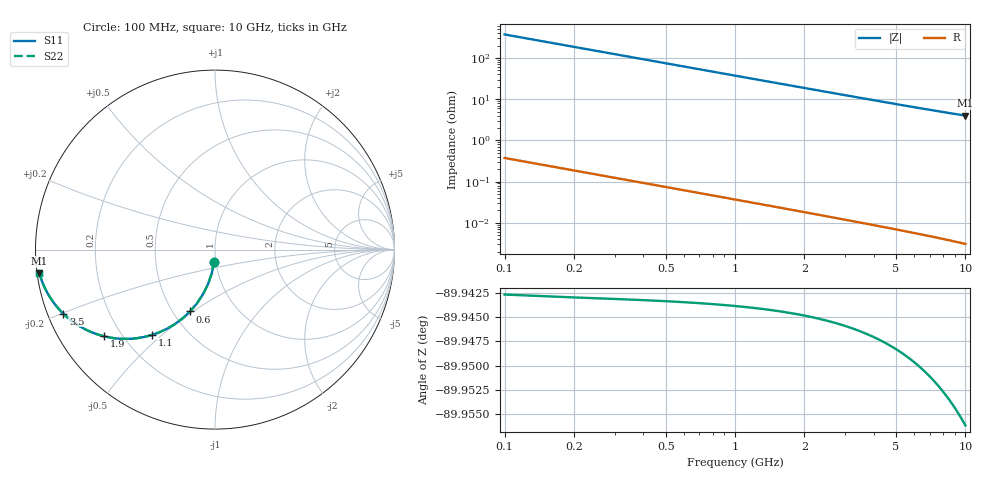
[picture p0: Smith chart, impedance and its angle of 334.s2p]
# Hz S RI R 50.00
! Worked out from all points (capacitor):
!   100 points, 100 MHz to 10 GHz, reference 50 ohm
!   read as one part in shunt: C = 4.26 pF near 100 MHz
!   lowest |Z| = 4 ohm at 10 GHz (marker M1)
!   S11 on the Smith chart (normalised r, x): 100 MHz: 0.98, -0.13; 600 MHz: 0.61, -0.49; 1.1 GHz: 0.32, -0.46; 1.9 GHz: 0.14, -0.34; 3.5 GHz: 0.04, -0.20; 10 GHz: 0.01, -0.07
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1e8  -0.00449 -0.0665  0.9954 -0.0667  0.9954 -0.0667  -0.00449 -0.0665
2e8  -0.0177 -0.1312  0.9822 -0.1317  0.9822 -0.1317  -0.0177 -0.1312
3e8  -0.0389 -0.1926  0.961 -0.1933  0.961 -0.1933  -0.0389 -0.1926
4e8  -0.0671 -0.2492  0.9329 -0.2501  0.9329 -0.2501  -0.0671 -0.2492
5e8  -0.1009 -0.3001  0.899 -0.3013  0.899 -0.3013  -0.1009 -0.3001
6e8  -0.139 -0.3448  0.8609 -0.3462  0.8609 -0.3462  -0.139 -0.3448
8e8  -0.2229 -0.4148  0.777 -0.4167  0.777 -0.4167  -0.2229 -0.4148
9e8  -0.2663 -0.4404  0.7337 -0.4426  0.7337 -0.4426  -0.2663 -0.4404
1.1e9  -0.3514 -0.4756  0.6485 -0.4782  0.6485 -0.4782  -0.3514 -0.4756
1.4e9  -0.4672 -0.4967  0.5327 -0.5001  0.5327 -0.5001  -0.4672 -0.4967
1.8e9  -0.5915 -0.4889  0.4084 -0.4932  0.4084 -0.4932  -0.5915 -0.4889
1.9e9  -0.6173 -0.4832  0.3826 -0.4878  0.3826 -0.4878  -0.6173 -0.4832
2.2e9  -0.6837 -0.4619  0.3162 -0.4672  0.3162 -0.4672  -0.6837 -0.4619
2.6e9  -0.7511 -0.4287  0.2488 -0.435  0.2488 -0.435  -0.7511 -0.4287
3e9  -0.8006 -0.3954  0.1993 -0.4026  0.1993 -0.4026  -0.8006 -0.3954
3.4e9  -0.8375 -0.3642  0.1623 -0.3724  0.1623 -0.3724  -0.8375 -0.3642
3.5e9  -0.8453 -0.3568  0.1546 -0.3653  0.1546 -0.3653  -0.8453 -0.3568
4.2e9  -0.8872 -0.3106  0.1127 -0.3209  0.1127 -0.3209  -0.8872 -0.3106
5.1e9  -0.9207 -0.2634  0.0792 -0.2759  0.0792 -0.2759  -0.9207 -0.2634
6.7e9  -0.9526 -0.2034  0.0472 -0.22  0.0472 -0.22  -0.9526 -0.2034
8.4e9  -0.9695 -0.1605  0.0302 -0.1816  0.0302 -0.1816  -0.9695 -0.1605
1e10  -0.9784 -0.1313  0.0212 -0.1568  0.0212 -0.1568  -0.9784 -0.1313
